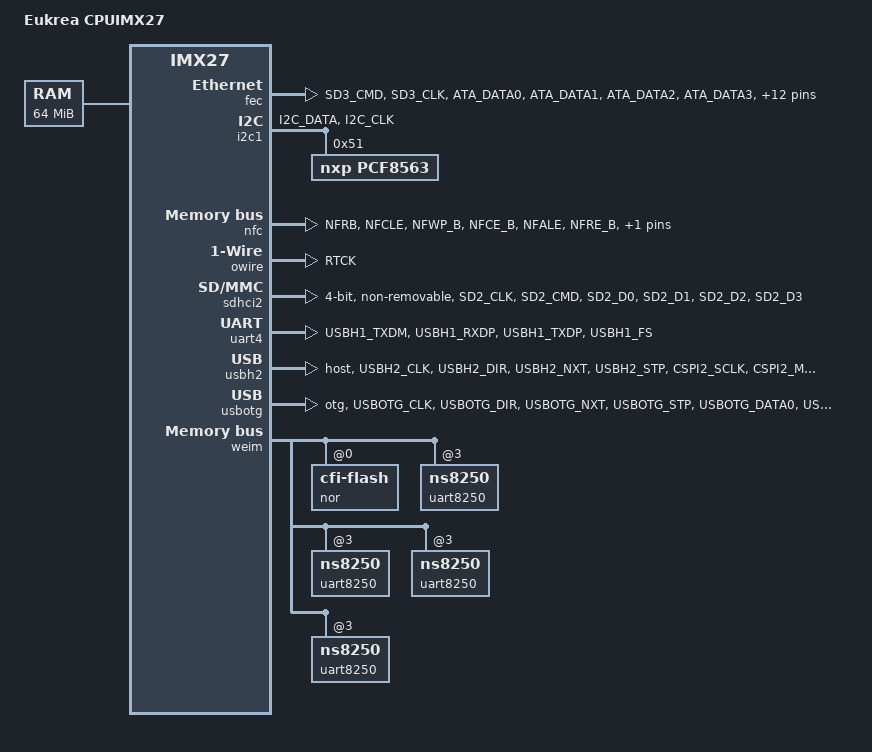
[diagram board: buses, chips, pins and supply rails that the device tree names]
/*
 * Copyright (C) 2014 Alexander Shiyan <shc_work@mail.ru>
 *
 * The code contained herein is licensed under the GNU General Public
 * License. You may obtain a copy of the GNU General Public License
 * Version 2 or later at the following locations:
 *
 * http://www.opensource.org/licenses/gpl-license.html
 * http://www.gnu.org/copyleft/gpl.html
 */

/dts-v1/;
#include "imx27.dtsi"

/ {
	model = "Eukrea CPUIMX27";
	compatible = "eukrea,cpuimx27", "fsl,imx27";

	memory {
		reg = <0xa0000000 0x04000000>;
	};

	clocks {
		#address-cells = <1>;
		#size-cells = <0>;
		compatible = "simple-bus";

		clk14745600: clock@0 {
			#clock-cells = <0>;
			compatible = "fixed-clock";
			clock-frequency = <14745600>;
			reg = <0>;
		};
	};
};

&fec {
	pinctrl-names = "default";
	pinctrl-0 = <&pinctrl_fec>;
	status = "okay";
};

&i2c1 {
	pinctrl-names = "default";
	pinctrl-0 = <&pinctrl_i2c1>;
	status = "okay";

	pcf8563@51 {
		compatible = "nxp,pcf8563";
		reg = <0x51>;
	};
};

&nfc {
	pinctrl-names = "default";
	pinctrl-0 = <&pinctrl_nfc>;
	nand-bus-width = <8>;
	nand-ecc-mode = "hw";
	nand-on-flash-bbt;
	status = "okay";
};

&owire {
	pinctrl-names = "default";
	pinctrl-0 = <&pinctrl_owire>;
	status = "okay";
};

&sdhci2 {
	pinctrl-names = "default";
	pinctrl-0 = <&pinctrl_sdhc2>;
	bus-width = <4>;
	non-removable;
	status = "okay";
};

&uart4 {
	pinctrl-names = "default";
	pinctrl-0 = <&pinctrl_uart4>;
	uart-has-rtscts;
	status = "okay";
};

&usbh2 {
	pinctrl-names = "default";
	pinctrl-0 = <&pinctrl_usbh2>;
	dr_mode = "host";
	phy_type = "ulpi";
	disable-over-current;
	status = "okay";
};

&usbotg {
	pinctrl-names = "default";
	pinctrl-0 = <&pinctrl_usbotg>;
	dr_mode = "otg";
	phy_type = "ulpi";
	disable-over-current;
	status = "okay";
};

&weim {
	status = "okay";

	nor: nor@0,0 {
		#address-cells = <1>;
		#size-cells = <1>;
		compatible = "cfi-flash";
		reg = <0 0x00000000 0x04000000>;
		bank-width = <2>;
		linux,mtd-name = "physmap-flash.0";
		fsl,weim-cs-timing = <0x00008f03 0xa0330d01 0x002208c0>;
	};

	uart8250@3,200000 {
		pinctrl-names = "default";
		pinctrl-0 = <&pinctrl_uart8250_1>;
		compatible = "ns8250";
		clocks = <&clk14745600>;
		fsl,weim-cs-timing = <0x0000d603 0x0d1d0d01 0x00d20000>;
		interrupts = <&gpio2 23 IRQ_TYPE_LEVEL_LOW>;
		reg = <3 0x200000 0x1000>;
		reg-shift = <1>;
		reg-io-width = <1>;
		no-loopback-test;
	};

	uart8250@3,400000 {
		pinctrl-names = "default";
		pinctrl-0 = <&pinctrl_uart8250_2>;
		compatible = "ns8250";
		clocks = <&clk14745600>;
		fsl,weim-cs-timing = <0x0000d603 0x0d1d0d01 0x00d20000>;
		interrupts = <&gpio2 22 IRQ_TYPE_LEVEL_LOW>;
		reg = <3 0x400000 0x1000>;
		reg-shift = <1>;
		reg-io-width = <1>;
		no-loopback-test;
	};

	uart8250@3,800000 {
		pinctrl-names = "default";
		pinctrl-0 = <&pinctrl_uart8250_3>;
		compatible = "ns8250";
		clocks = <&clk14745600>;
		fsl,weim-cs-timing = <0x0000d603 0x0d1d0d01 0x00d20000>;
		interrupts = <&gpio2 27 IRQ_TYPE_LEVEL_LOW>;
		reg = <3 0x800000 0x1000>;
		reg-shift = <1>;
		reg-io-width = <1>;
		no-loopback-test;
	};

	uart8250@3,1000000 {
		pinctrl-names = "default";
		pinctrl-0 = <&pinctrl_uart8250_4>;
		compatible = "ns8250";
		clocks = <&clk14745600>;
		fsl,weim-cs-timing = <0x0000d603 0x0d1d0d01 0x00d20000>;
		interrupts = <&gpio2 30 IRQ_TYPE_LEVEL_LOW>;
		reg = <3 0x1000000 0x1000>;
		reg-shift = <1>;
		reg-io-width = <1>;
		no-loopback-test;
	};
};

&iomuxc {
	imx27-eukrea-cpuimx27 {
		pinctrl_fec: fecgrp {
			fsl,pins = <
				MX27_PAD_SD3_CMD__FEC_TXD0		0x0
				MX27_PAD_SD3_CLK__FEC_TXD1		0x0
				MX27_PAD_ATA_DATA0__FEC_TXD2		0x0
				MX27_PAD_ATA_DATA1__FEC_TXD3		0x0
				MX27_PAD_ATA_DATA2__FEC_RX_ER		0x0
				MX27_PAD_ATA_DATA3__FEC_RXD1		0x0
				MX27_PAD_ATA_DATA4__FEC_RXD2		0x0
				MX27_PAD_ATA_DATA5__FEC_RXD3		0x0
				MX27_PAD_ATA_DATA6__FEC_MDIO		0x0
				MX27_PAD_ATA_DATA7__FEC_MDC		0x0
				MX27_PAD_ATA_DATA8__FEC_CRS		0x0
				MX27_PAD_ATA_DATA9__FEC_TX_CLK		0x0
				MX27_PAD_ATA_DATA10__FEC_RXD0		0x0
				MX27_PAD_ATA_DATA11__FEC_RX_DV		0x0
				MX27_PAD_ATA_DATA12__FEC_RX_CLK		0x0
				MX27_PAD_ATA_DATA13__FEC_COL		0x0
				MX27_PAD_ATA_DATA14__FEC_TX_ER		0x0
				MX27_PAD_ATA_DATA15__FEC_TX_EN		0x0
			>;
		};

		pinctrl_i2c1: i2c1grp {
			fsl,pins = <
				MX27_PAD_I2C_DATA__I2C_DATA		0x0
				MX27_PAD_I2C_CLK__I2C_CLK		0x0
			>;
		};

		pinctrl_nfc: nfcgrp {
			fsl,pins = <
				MX27_PAD_NFRB__NFRB			0x0
				MX27_PAD_NFCLE__NFCLE			0x0
				MX27_PAD_NFWP_B__NFWP_B			0x0
				MX27_PAD_NFCE_B__NFCE_B			0x0
				MX27_PAD_NFALE__NFALE			0x0
				MX27_PAD_NFRE_B__NFRE_B			0x0
				MX27_PAD_NFWE_B__NFWE_B			0x0
			>;
		};

		pinctrl_owire: owiregrp {
			fsl,pins = <
				MX27_PAD_RTCK__OWIRE			0x0
			>;
		};

		pinctrl_sdhc2: sdhc2grp {
			fsl,pins = <
				MX27_PAD_SD2_CLK__SD2_CLK		0x0
				MX27_PAD_SD2_CMD__SD2_CMD		0x0
				MX27_PAD_SD2_D0__SD2_D0			0x0
				MX27_PAD_SD2_D1__SD2_D1			0x0
				MX27_PAD_SD2_D2__SD2_D2			0x0
				MX27_PAD_SD2_D3__SD2_D3			0x0
			>;
		};

		pinctrl_uart4: uart4grp {
			fsl,pins = <
				MX27_PAD_USBH1_TXDM__UART4_TXD		0x0
				MX27_PAD_USBH1_RXDP__UART4_RXD		0x0
				MX27_PAD_USBH1_TXDP__UART4_CTS		0x0
				MX27_PAD_USBH1_FS__UART4_RTS		0x0
			>;
		};

		pinctrl_uart8250_1: uart82501grp {
			fsl,pins = <
				MX27_PAD_USB_PWR__GPIO2_23		0x0
			>;
		};

		pinctrl_uart8250_2: uart82502grp {
			fsl,pins = <
				MX27_PAD_USBH1_SUSP__GPIO2_22		0x0
			>;
		};

		pinctrl_uart8250_3: uart82503grp {
			fsl,pins = <
				MX27_PAD_USBH1_OE_B__GPIO2_27		0x0
			>;
		};

		pinctrl_uart8250_4: uart82504grp {
			fsl,pins = <
				MX27_PAD_USBH1_RXDM__GPIO2_30		0x0
			>;
		};

		pinctrl_usbh2: usbh2grp {
			fsl,pins = <
				MX27_PAD_USBH2_CLK__USBH2_CLK		0x0
				MX27_PAD_USBH2_DIR__USBH2_DIR		0x0
				MX27_PAD_USBH2_NXT__USBH2_NXT		0x0
				MX27_PAD_USBH2_STP__USBH2_STP		0x0
				MX27_PAD_CSPI2_SCLK__USBH2_DATA0	0x0
				MX27_PAD_CSPI2_MOSI__USBH2_DATA1	0x0
				MX27_PAD_CSPI2_MISO__USBH2_DATA2	0x0
				MX27_PAD_CSPI2_SS1__USBH2_DATA3		0x0
				MX27_PAD_CSPI2_SS2__USBH2_DATA4		0x0
				MX27_PAD_CSPI1_SS2__USBH2_DATA5		0x0
				MX27_PAD_CSPI2_SS0__USBH2_DATA6		0x0
				MX27_PAD_USBH2_DATA7__USBH2_DATA7	0x0
			>;
		};

		pinctrl_usbotg: usbotggrp {
			fsl,pins = <
				MX27_PAD_USBOTG_CLK__USBOTG_CLK		0x0
				MX27_PAD_USBOTG_DIR__USBOTG_DIR		0x0
				MX27_PAD_USBOTG_NXT__USBOTG_NXT		0x0
				MX27_PAD_USBOTG_STP__USBOTG_STP		0x0
				MX27_PAD_USBOTG_DATA0__USBOTG_DATA0	0x0
				MX27_PAD_USBOTG_DATA1__USBOTG_DATA1	0x0
				MX27_PAD_USBOTG_DATA2__USBOTG_DATA2	0x0
				MX27_PAD_USBOTG_DATA3__USBOTG_DATA3	0x0
				MX27_PAD_USBOTG_DATA4__USBOTG_DATA4	0x0
				MX27_PAD_USBOTG_DATA5__USBOTG_DATA5	0x0
				MX27_PAD_USBOTG_DATA6__USBOTG_DATA6	0x0
				MX27_PAD_USBOTG_DATA7__USBOTG_DATA7	0x0
			>;
		};
	};
};
